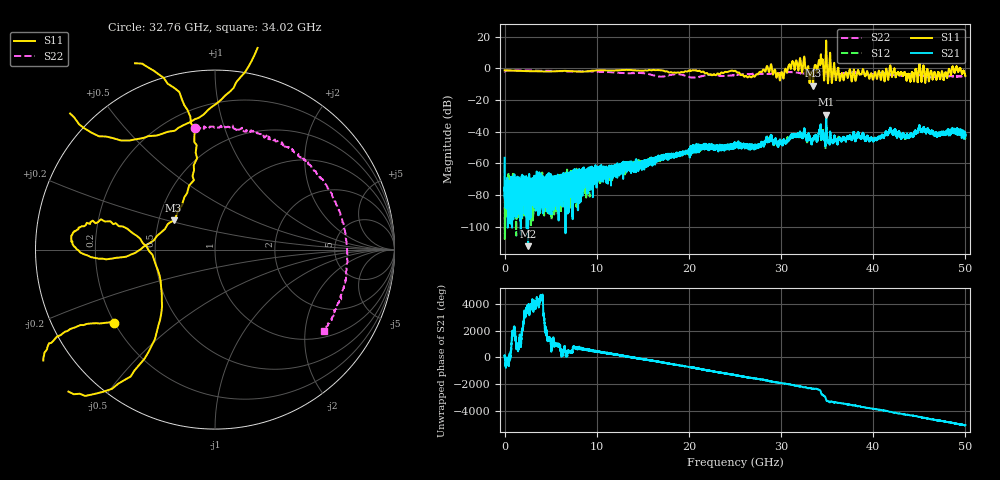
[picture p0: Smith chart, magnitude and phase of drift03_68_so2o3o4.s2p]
!Created with skrf (http://scikit-rf.org).
# Hz S RI R 50.0
!freq ReS11 ImS11 ReS21 ImS21 ReS12 ImS12 ReS22 ImS22
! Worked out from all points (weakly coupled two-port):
!   10001 points, 300 kHz to 50 GHz, reference 50 ohm
!   highest |S21| = -29.32 dB at 34.9 GHz (marker M1); lowest = -112.4 dB at 2.55 GHz (marker M2)
!   lowest |S11| = -11.0 dB at 33.47 GHz (marker M3), VSWR 1.79, Z = 29.8 + j10.6 ohm
!   |S11| at or under -10 dB: 33.44913 GHz to 33.48444 GHz (35.3 MHz wide, 0.105 % of centre)
!   |S22| runs from -5.9 to -1.3 dB; largest |S21 - S12| = 0.0098
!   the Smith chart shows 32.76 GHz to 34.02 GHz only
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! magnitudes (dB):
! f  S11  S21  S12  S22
! 300 kHz  -1.3  -56.5  -61.3  -2.1
! 255.3 MHz  -1.3  -72.7  -78.2  -1.4
! 2.55 GHz  -1.8  -112.4  -88.2  -1.4
! 8.335 GHz  -2.2  -67.6  -70.0  -1.9
! 16.67 GHz  -1.1  -57.2  -56.3  -5.2
! 25 GHz  -1.5  -48.6  -48.2  -4.3
! 26.92 GHz  -4.9  -49.9  -49.1  -3.5
! 28.72 GHz  -2.3  -44.6  -45.4  -3.6
! 30.06 GHz  -2.5  -47.2  -47.0  -2.8
! 31.87 GHz  -1.4  -41.8  -42.0  -2.9
! 33.34 GHz  -2.2  -47.9  -47.5  -2.9
! 33.47 GHz  -11.0  -44.8  -45.1  -2.8
! 34.3 GHz  7.5  -35.5  -35.8  -2.3
! 34.9 GHz  17.6  -29.3  -30.5  -2.4
! 36.58 GHz  -3.5  -45.8  -46.0  -3.6
! 40.18 GHz  -2.4  -44.6  -44.0  -3.7
! 41.67 GHz  -5.4  -40.5  -40.5  -3.7
! 43.84 GHz  -3.9  -43.9  -43.1  -3.8
! 45.19 GHz  -6.4  -39.3  -39.0  -4.5
! 47.06 GHz  -2.9  -41.9  -41.9  -5.0
! 49.21 GHz  -2.0  -38.9  -39.6  -5.1
! 50 GHz  -4.7  -42.8  -42.5  -4.9
